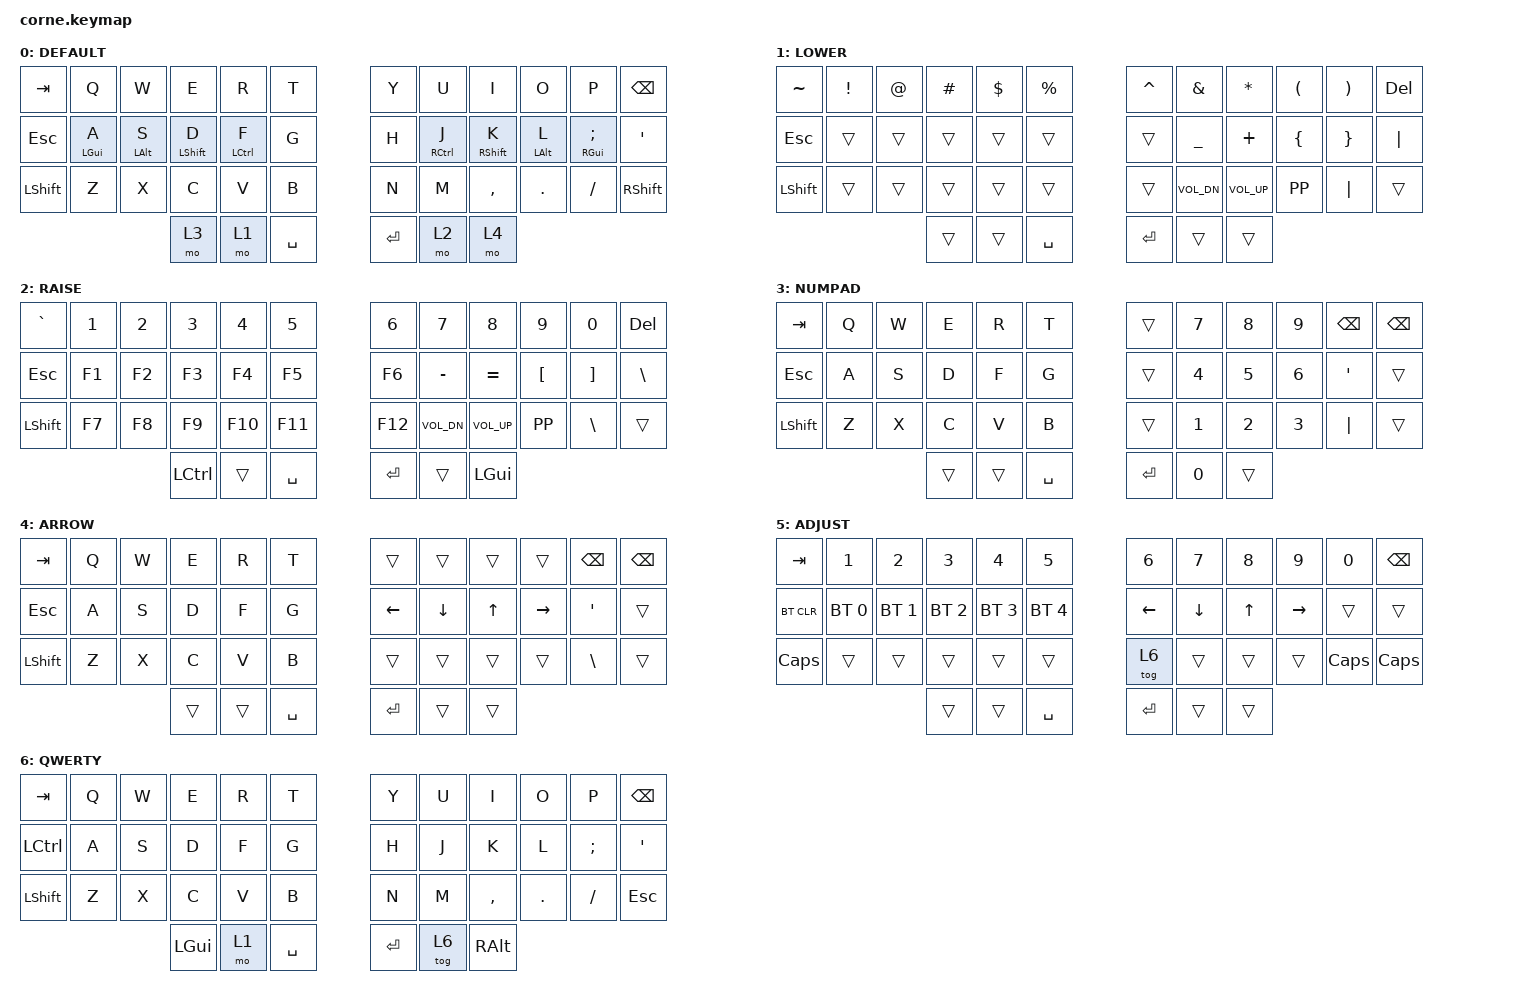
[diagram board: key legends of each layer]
/*
 * Copyright (c) 2020 The ZMK Contributors
 *
 * SPDX-License-Identifier: MIT
 */

#include <behaviors.dtsi>
#include <dt-bindings/zmk/keys.h>
#include <dt-bindings/zmk/bt.h>

&mt {
    tapping-term-ms = <200>;
    quick-tap-ms = <125>;
    flavor = "tap-preferred";
};

/ {
        keymap {
                compatible = "zmk,keymap";

                default_layer {
                  label = "DEFAULT";
// -----------------------------------------------------------------------------------------
// |  TAB |  Q  |  W  |  E  |  R  |  T  |   |  Y  |  U   |  I  |  O  |  P  | BKSP |
// | ESC  |  A  |  S  |  D  |  F  |  G  |   |  H  |  J   |  K  |  L  |  ;  |  '   |
// | SHFT |  Z  |  X  |  C  |  V  |  B  |   |  N  |  M   |  ,  |  .  |  /  | SHFT |
//                    |NUMP | LWR | SPC |   | ENT | RSE  |ARROW|
      bindings = <
   &kp TAB   &kp Q      &kp W      &kp E       &kp R       &kp T   &kp Y &kp U       &kp I       &kp O      &kp P         &kp BSPC
   &kp ESC   &mt LGUI A &mt LALT S &mt LSHFT D &mt LCTRL F &kp G   &kp H &mt RCTRL J &mt RSHFT K &mt LALT L &mt RGUI SEMI &kp SQT
   &kp LSHFT &kp Z      &kp X      &kp C       &kp V       &kp B   &kp N &kp M       &kp COMMA   &kp DOT    &kp FSLH      &kp RSHFT
                        &mo 3      &mo 1       &kp SPACE   &kp RET &mo 2 &mo 4
                        >;
                };
                lower_layer {
                  label = "LOWER";
// -----------------------------------------------------------------------------------------
// |  ~   |  !  |  @  |  #  |  $  |  %  |   |  ^  |  &  |  *  |  (  |  )  | BKSP |
// | ESC  |     |     |     |     |     |   |  -  |  _  |  +  |  {  |  }  |  "|" |
// | SHFT |     |     |     |     |     |   |     | VOL-| VOL+| PLAY| "|" |      |
//                    |     |     | SPC |   | ENT | ADJ |     |
        bindings = <
   &kp TILDE &kp EXCL &kp AT &kp HASH &kp DLLR &kp PRCNT &kp CARET &kp AMPS     &kp ASTRK    &kp LPAR &kp RPAR &kp DEL
   &kp ESC   &trans   &trans &trans   &trans   &trans    &trans    &kp UNDER    &kp PLUS     &kp LBRC &kp RBRC &kp PIPE
   &kp LSHFT &trans   &trans &trans   &trans   &trans    &trans    &kp K_VOL_DN &kp K_VOL_UP &kp K_PP &kp PIPE &trans
                             &trans   &trans   &kp SPACE &kp RET   &trans       &trans
                        >;
                };

                raise_layer {
                  label = "RAISE";
// -----------------------------------------------------------------------------------------
// |  `   |  1  |  2  |  3  |  4  |  5  |   |  6  |  7  |  8  |  9  |  0  | BKSP |
// | ESC  | F1  | F2  | F3  |  F4 |  F5 |   | F6  |  -  |  =  | [   |  ]  |  \   |
// | SHFT | F7  | F8  | F9  | F10 | F11 |   | F12 | VOL-| VOL+| PLAY| \   |      |
//                    | CTRL| ADJ | SPC |   | ENT |     | GUI |
        bindings = <
   &kp GRAVE &kp N1  &kp N2 &kp N3    &kp N4  &kp N5    &kp N6  &kp N7       &kp N8       &kp N9   &kp N0   &kp DEL
   &kp ESC   &kp F1  &kp F2 &kp F3    &kp F4  &kp F5    &kp F6  &kp MINUS    &kp EQUAL    &kp LBKT &kp RBKT &kp BSLH
   &kp LSHFT &kp F7  &kp F8 &kp F9    &kp F10 &kp F11   &kp F12 &kp K_VOL_DN &kp K_VOL_UP &kp K_PP &kp BSLH &trans
                            &kp LCTRL &trans  &kp SPACE &kp RET &trans       &kp LGUI
                        >;
                };
                numpad_layer {
                  label = "NUMPAD";
// -----------------------------------------------------------------------------------------
// |  TAB |  Q  |  W  |  E  |  R  |  T  |   |     |  7  |  8  |  9  | BKSP| BKSP |
// | ESC  |  A  |  S  |  D  |  F  |  G  |   |     |  4  |  5  |  6  |  '  |      |
// | SHFT |  Z  |  X  |  C  |  V  |  B  |   |     |  1  |  2  |  3  | "|" |      |
//                    |     |     | SPC |   | ENT |  0  |     |
        bindings = <
   &kp TAB   &kp Q &kp W &kp E  &kp R  &kp T     &trans  &kp N7 &kp N8 &kp N9 &kp BSPC &kp BSPC
   &kp ESC   &kp A &kp S &kp D  &kp F  &kp G     &trans  &kp N4 &kp N5 &kp N6 &kp SQT  &trans
   &kp LSHFT &kp Z &kp X &kp C  &kp V  &kp B     &trans  &kp N1 &kp N2 &kp N3 &kp PIPE &trans
                         &trans &trans &kp SPACE &kp RET &kp N0 &trans
                        >;
                };
                arrow_layer {
                  label = "ARROW";
// -----------------------------------------------------------------------------------------
// |  TAB |  Q  |  W  |  E  |  R  |  T  |   |     |     |     |     | BKSP| BKSP |
// | ESC  |  A  |  S  |  D  |  F  |  G  |   | LFT | DWN |  UP | RGT |  '  |      |
// | SHFT |  Z  |  X  |  C  |  V  |  B  |   |     |     |     |     | \   |      |
//                    |     |     | SPC |   | ENT |     |     |
        bindings = <
   &kp TAB   &kp Q &kp W &kp E  &kp R  &kp T     &trans   &trans   &trans &trans    &kp BSPC &kp BSPC
   &kp ESC   &kp A &kp S &kp D  &kp F  &kp G     &kp LEFT &kp DOWN &kp UP &kp RIGHT &kp SQT  &trans
   &kp LSHFT &kp Z &kp X &kp C  &kp V  &kp B     &trans   &trans   &trans &trans    &kp BSLH &trans
                         &trans &trans &kp SPACE &kp RET  &trans   &trans
                        >;
                };
                adjust_layer {
                  label = "ADJUST";
// -----------------------------------------------------------------------------------------
// |  TAB |  1  |  2  |  3  |  4  |  5  |   |  6  |  7  |  8  |  9  |  0  | BKSP |
// | BTCLR| BT1 | BT2 | BT3 | BT4 | BT5 |   | LFT | DWN |  UP | RGT |     |      |
// | MAYUS|     |     |     |     |     |   |     |     |     |     |MAYUS| MAYUS|
//                    |     |     | SPC |   | ENT |     |     |
        bindings = <
   &kp TAB    &kp N1       &kp N2       &kp N3       &kp N4       &kp N5       &kp N6   &kp N7   &kp N8 &kp N9    &kp N0   &kp BSPC
   &bt BT_CLR &bt BT_SEL 0 &bt BT_SEL 1 &bt BT_SEL 2 &bt BT_SEL 3 &bt BT_SEL 4 &kp LEFT &kp DOWN &kp UP &kp RIGHT &trans   &trans
   &kp CAPS   &trans       &trans       &trans       &trans       &trans       &tog 6   &trans    &trans &trans    &kp CAPS &kp CAPS
                                        &trans       &trans       &kp SPACE    &kp RET  &trans   &trans
                        >;
                };
                qwerty_layer {
                  label = "QWERTY";
// -----------------------------------------------------------------------------------------
// |  TAB |  Q  |  W  |  E  |  R  |  T  |   |  Y  |  U   |  I  |  O  |  P  | BKSP |
// | CTRL |  A  |  S  |  D  |  F  |  G  |   |  H  |  J   |  K  |  L  |  ;  |  '   |
// | SHFT |  Z  |  X  |  C  |  V  |  B  |   |  N  |  M   |  ,  |  .  |  /  | ESC  |
//                    | GUI | LWR | SPC |   | ENT | DEF  | ALT |
                        bindings = <
   &kp TAB   &kp Q &kp W &kp E &kp R &kp T   &kp Y &kp U  &kp I     &kp O   &kp P    &kp BSPC
   &kp LCTRL &kp A &kp S &kp D &kp F &kp G   &kp H &kp J  &kp K     &kp L   &kp SEMI &kp SQT
   &kp LSHFT &kp Z &kp X &kp C &kp V &kp B   &kp N &kp M  &kp COMMA &kp DOT &kp FSLH &kp ESC
                  &kp LGUI &mo 1 &kp SPACE   &kp RET &tog 6 &kp RALT
                        >;
                };
        };
};
/ {
    conditional_layers {
        compatible = "zmk,conditional-layers";
        tri_layer {
            if-layers = <1 2>;
            then-layer = <5>;
        };
    };
};
